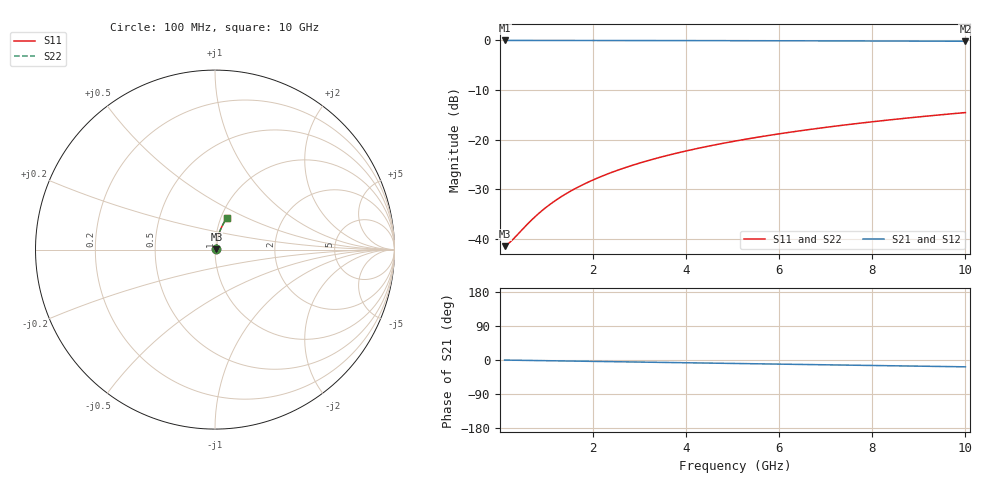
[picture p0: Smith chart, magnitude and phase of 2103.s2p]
# Hz S RI R 50.00
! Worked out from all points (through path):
!   100 points, 100 MHz to 10 GHz, reference 50 ohm
!   highest |S21| = -0.07 dB at 100 MHz (marker M1); lowest = -0.2 dB at 10 GHz (marker M2)
!   group delay of S21, straight-line fit = 5.01 ps
!   lowest |S11| = -41.5 dB at 100 MHz (marker M3), VSWR 1.02, Z = 50.8 + j0.192 ohm
!   |S11| at or under -10 dB: start of sweep to end of sweep
!   |S22| runs from -41.5 to -14.6 dB; largest |S21 - S12| = 0
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1e8  0.00824 0.00189  0.9918 -0.00315  0.9918 -0.00315  0.00824 0.00189
2e8  0.00832 0.00378  0.9917 -0.00629  0.9917 -0.00629  0.00832 0.00378
3e8  0.00838 0.00566  0.9916 -0.00944  0.9916 -0.00944  0.00838 0.00566
6e8  0.00863 0.0113  0.9913 -0.0189  0.9913 -0.0189  0.00863 0.0113
7e8  0.00873 0.0132  0.9912 -0.022  0.9912 -0.022  0.00873 0.0132
8e8  0.00884 0.0151  0.9911 -0.0252  0.9911 -0.0252  0.00884 0.0151
1e9  0.00909 0.0189  0.9908 -0.0314  0.9908 -0.0314  0.00909 0.0189
1.2e9  0.00938 0.0226  0.9905 -0.0377  0.9905 -0.0377  0.00938 0.0226
1.4e9  0.00972 0.0264  0.9901 -0.044  0.9901 -0.044  0.00972 0.0264
1.6e9  0.0101 0.0301  0.9897 -0.0503  0.9897 -0.0503  0.0101 0.0301
1.8e9  0.0105 0.0339  0.9892 -0.0565  0.9892 -0.0565  0.0105 0.0339
2.1e9  0.0113 0.0395  0.9884 -0.0659  0.9884 -0.0659  0.0113 0.0395
2.5e9  0.0124 0.0469  0.9871 -0.0784  0.9871 -0.0784  0.0124 0.0469
2.9e9  0.0137 0.0544  0.9856 -0.0909  0.9856 -0.0909  0.0137 0.0544
3.4e9  0.0156 0.0636  0.9834 -0.1064  0.9834 -0.1064  0.0156 0.0636
4.2e9  0.0193 0.0781  0.9793 -0.1311  0.9793 -0.1311  0.0193 0.0781
5.1e9  0.0242 0.0943  0.9736 -0.1586  0.9736 -0.1586  0.0242 0.0943
5.9e9  0.0294 0.1083  0.9677 -0.1827  0.9677 -0.1827  0.0294 0.1083
6.7e9  0.0353 0.122  0.9611 -0.2066  0.9611 -0.2066  0.0353 0.122
7.5e9  0.0418 0.1354  0.9536 -0.2301  0.9536 -0.2301  0.0418 0.1354
8.4e9  0.0498 0.15  0.9444 -0.2561  0.9444 -0.2561  0.0498 0.15
1e10  0.0661 0.1746  0.9257 -0.301  0.9257 -0.301  0.0661 0.1746
